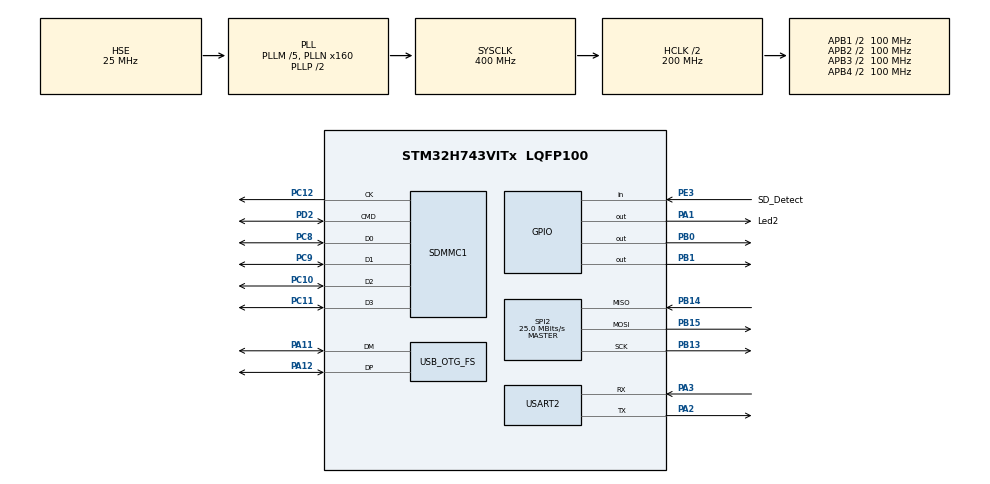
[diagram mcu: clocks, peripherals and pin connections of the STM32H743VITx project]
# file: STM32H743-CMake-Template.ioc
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CORTEX_M7.CPU_DCache=Enabled
CORTEX_M7.CPU_ICache=Enabled
CORTEX_M7.Enable-Cortex_Memory_Protection_Unit_Region0_Settings=MPU_REGION_ENABLE
CORTEX_M7.Enable-Cortex_Memory_Protection_Unit_Region1_Settings=MPU_REGION_ENABLE
CORTEX_M7.MPU_Control=__NULL
FATFS.BSP.number=1
FATFS._CODE_PAGE=936
FATFS._FS_EXFAT=1
FATFS._USE_LFN=3
FATFS0.BSP.STBoard=false
FATFS0.BSP.api=Unknown
FATFS0.BSP.instance=PE3
FATFS0.BSP.ip=GPIO
FATFS0.BSP.mode=Input
FATFS0.BSP.name=Detect_SDIO
FATFS0.BSP.solution=PE3
FREERTOS.Tasks01=defaultTask,24,128,StartDefaultTask,Default,NULL,Dynamic,NULL,NULL;lvglTimerTask,24,512,StartLvglTimerTask,Default,NULL,Dynamic,NULL,NULL;mainTask,24,512,StartMainTask,As external,NULL,Dynamic,NULL,NULL
FREERTOS.configENABLE_FPU=1
FREERTOS.configGENERATE_RUN_TIME_STATS=1
FREERTOS.configRECORD_STACK_HIGH_ADDRESS=1
FREERTOS.configTOTAL_HEAP_SIZE=280000
FREERTOS.configUSE_NEWLIB_REENTRANT=0
FREERTOS.configUSE_STATS_FORMATTING_FUNCTIONS=1
FREERTOS.copyHeapFile=1
Mcu.Family=STM32H7
Mcu.Name=STM32H743VITx
Mcu.Package=LQFP100
NVIC.OTG_FS_IRQn=true\:5\:0\:false\:false\:true\:true\:false\:true\:true
NVIC.PriorityGroup=NVIC_PRIORITYGROUP_4
NVIC.SDMMC1_IRQn=true\:5\:0\:false\:false\:true\:true\:true\:true\:true
NVIC.TIM1_UP_IRQn=true\:4\:0\:true\:false\:true\:false\:false\:true\:true
NVIC.TIM6_DAC_IRQn=true\:5\:0\:true\:false\:true\:true\:true\:true\:true
NVIC.TimeBase=TIM1_UP_IRQn
NVIC.TimeBaseIP=TIM1
NVIC.USART2_IRQn=true\:5\:0\:true\:false\:true\:true\:true\:true\:true
PA1.GPIO_Label=Led2
PA1.GPIO_PuPd=GPIO_PULLUP
PA1.GPIO_Speed=GPIO_SPEED_FREQ_VERY_HIGH
PA1.Signal=GPIO_Output
PA11.GPIO_PuPd=GPIO_NOPULL
PA11.Mode=Device_Only
PA11.Signal=USB_OTG_FS_DM
PA12.Mode=Device_Only
PA12.Signal=USB_OTG_FS_DP
PA13\ (JTMS/SWDIO).Mode=Serial_Wire
PA13\ (JTMS/SWDIO).Signal=DEBUG_JTMS-SWDIO
PA14\ (JTCK/SWCLK).Mode=Serial_Wire
PA14\ (JTCK/SWCLK).Signal=DEBUG_JTCK-SWCLK
PA2.GPIO_PuPd=GPIO_PULLUP
PA2.GPIO_Speed=GPIO_SPEED_FREQ_VERY_HIGH
PA2.Mode=Asynchronous
PA2.Signal=USART2_TX
PA3.GPIO_PuPd=GPIO_PULLUP
PA3.GPIO_Speed=GPIO_SPEED_FREQ_VERY_HIGH
PA3.Mode=Asynchronous
PA3.Signal=USART2_RX
PB0.GPIO_PuPd=GPIO_PULLUP
PB0.GPIO_Speed=GPIO_SPEED_FREQ_VERY_HIGH
PB0.Signal=GPIO_Output
PB1.GPIO_PuPd=GPIO_PULLUP
PB1.GPIO_Speed=GPIO_SPEED_FREQ_VERY_HIGH
PB1.Signal=GPIO_Output
PB12.GPIO_PuPd=GPIO_PULLUP
PB12.GPIO_Speed=GPIO_SPEED_FREQ_VERY_HIGH
PB12.Signal=SPI2_NSS
PB13.GPIO_PuPd=GPIO_PULLUP
PB13.GPIO_Speed=GPIO_SPEED_FREQ_VERY_HIGH
PB13.Mode=Full_Duplex_Master
PB13.Signal=SPI2_SCK
PB14.GPIO_PuPd=GPIO_PULLUP
PB14.GPIO_Speed=GPIO_SPEED_FREQ_VERY_HIGH
PB14.Mode=Full_Duplex_Master
PB14.Signal=SPI2_MISO
PB15.GPIO_PuPd=GPIO_PULLUP
PB15.GPIO_Speed=GPIO_SPEED_FREQ_VERY_HIGH
PB15.Mode=Full_Duplex_Master
PB15.Signal=SPI2_MOSI
PC10.Mode=SD_4_bits_Wide_bus
PC10.Signal=SDMMC1_D2
PC11.Mode=SD_4_bits_Wide_bus
PC11.Signal=SDMMC1_D3
PC12.Mode=SD_4_bits_Wide_bus
PC12.Signal=SDMMC1_CK
PC8.Mode=SD_4_bits_Wide_bus
PC8.Signal=SDMMC1_D0
PC9.Mode=SD_4_bits_Wide_bus
PC9.Signal=SDMMC1_D1
PD2.Mode=SD_4_bits_Wide_bus
PD2.Signal=SDMMC1_CMD
PE3.GPIO_Label=SD_Detect
PE3.GPIO_PuPd=GPIO_PULLDOWN
PE3.Signal=GPIO_Input
PH0-OSC_IN\ (PH0).Mode=HSE-External-Oscillator
PH0-OSC_IN\ (PH0).Signal=RCC_OSC_IN
PH1-OSC_OUT\ (PH1).Mode=HSE-External-Oscillator
PH1-OSC_OUT\ (PH1).Signal=RCC_OSC_OUT
ProjectManager.HeapSize=0x20000
ProjectManager.StackSize=0x10000
ProjectManager.TargetToolchain=STM32CubeIDE
RCC.ADCFreq_Value=50390625
RCC.APB1Freq_Value=100000000
RCC.APB2Freq_Value=100000000
RCC.APB3Freq_Value=100000000
RCC.APB4Freq_Value=100000000
RCC.CortexFreq_Value=400000000
RCC.D1PPRE=RCC_APB3_DIV2
RCC.D2PPRE1=RCC_APB1_DIV2
RCC.D2PPRE2=RCC_APB2_DIV2
RCC.D3PPRE=RCC_APB4_DIV2
RCC.DIVM1=5
RCC.DIVN1=160
RCC.DIVQ1=4
RCC.HCLKFreq_Value=200000000
RCC.HPRE=RCC_HCLK_DIV2
RCC.PLL2FRACN=0
RCC.PLL3FRACN=0
RCC.PLLFRACN=0
RCC.PLLSourceVirtual=RCC_PLLSOURCE_HSE
RCC.SYSCLKFreq_VALUE=400000000
RCC.SYSCLKSource=RCC_SYSCLKSOURCE_PLLCLK
RCC.USBCLockSelection=RCC_USBCLKSOURCE_HSI48
RCC.USBFreq_Value=48000000
SDMMC1.ClockDiv=2
SPI2.BaudRatePrescaler=SPI_BAUDRATEPRESCALER_8
SPI2.CLKPhase=SPI_PHASE_2EDGE
SPI2.CLKPolarity=SPI_POLARITY_HIGH
SPI2.CalculateBaudRate=25.0 MBits/s
SPI2.DataSize=SPI_DATASIZE_8BIT
SPI2.Direction=SPI_DIRECTION_2LINES
SPI2.FifoThreshold=SPI_FIFO_THRESHOLD_01DATA
SPI2.MasterKeepIOState=SPI_MASTER_KEEP_IO_STATE_ENABLE
SPI2.Mode=SPI_MODE_MASTER
SPI2.NSSPMode=SPI_NSS_PULSE_DISABLE
SPI2.VirtualType=VM_MASTER
TIM6.AutoReloadPreload=TIM_AUTORELOAD_PRELOAD_ENABLE
TIM6.Period=199
TIM6.Prescaler=99
USART2.OverrunDisableParam=ADVFEATURE_OVERRUN_DISABLE
USART2.VirtualMode-Asynchronous=VM_ASYNC
USB_DEVICE.CLASS_NAME_FS=CDC
USB_DEVICE.VirtualMode-CDC_FS=Cdc
USB_DEVICE.VirtualModeFS=Cdc_FS
USB_OTG_FS.VirtualMode=Device_Only
VP_FATFS_VS_SDIO.Mode=SDIO
VP_FREERTOS_VS_CMSIS_V2.Mode=CMSIS_V2
VP_SYS_VS_tim1.Mode=TIM1
VP_TIM6_VS_ClockSourceINT.Mode=Enable_Timer
VP_USB_DEVICE_VS_USB_DEVICE_CDC_FS.Mode=CDC_FS
board=custom

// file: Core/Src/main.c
/* USER CODE BEGIN Header */
/**
  ******************************************************************************
  * @file           : main.c
  * @brief          : Main program body
  ******************************************************************************
  * @attention
  *
  * Copyright (c) 2022 STMicroelectronics.
  * All rights reserved.
  *
  * This software is licensed under terms that can be found in the LICENSE file
  * in the root directory of this software component.
  * If no LICENSE file comes with this software, it is provided AS-IS.
  *
  ******************************************************************************
  */
/* USER CODE END Header */
#include "main.h"
#include "cmsis_os.h"
#include "fatfs.h"
#include "sdmmc.h"
#include "spi.h"
#include "tim.h"
#include "usart.h"
#include "usb_device.h"
#include "gpio.h"

void SystemClock_Config(void);
void MX_FREERTOS_Init(void);

int main(void)
{

  /* Enable I-Cache---------------------------------------------------------*/
  SCB_EnableICache();

  /* Enable D-Cache---------------------------------------------------------*/
  SCB_EnableDCache();

  /* MCU Configuration--------------------------------------------------------*/

  /* Reset of all peripherals, Initializes the Flash interface and the Systick. */
  HAL_Init();

  /* Configure the system clock */
  SystemClock_Config();

  /* USER CODE BEGIN SysInit */
  __HAL_RCC_D2SRAM1_CLK_ENABLE();
  __HAL_RCC_D2SRAM2_CLK_ENABLE();
  __HAL_RCC_D2SRAM3_CLK_ENABLE();
  /* USER CODE END SysInit */

  /* Initialize all configured peripherals */
  MX_GPIO_Init();
  MX_TIM6_Init();
  MX_USART2_UART_Init();
  MX_SPI2_Init();
  MX_SDMMC1_SD_Init();
  MX_FATFS_Init();
  /* USER CODE BEGIN 2 */
  LL_USART_EnableIT_RXNE(USART2);
  StartRunTimeStat();
  /* USER CODE END 2 */

  /* Init scheduler */
  osKernelInitialize();  /* Call init function for freertos objects (in freertos.c) */
  MX_FREERTOS_Init();

  /* Start scheduler */
  osKernelStart();

  /* We should never get here as control is now taken by the scheduler */
  /* Infinite loop */
  while (1)
  {

  }
}

void SystemClock_Config(void)
{
  RCC_OscInitTypeDef RCC_OscInitStruct = {0};
  RCC_ClkInitTypeDef RCC_ClkInitStruct = {0};

  /** Supply configuration update enable
  */
  HAL_PWREx_ConfigSupply(PWR_LDO_SUPPLY);

  /** Configure the main internal regulator output voltage
  */
  __HAL_PWR_VOLTAGESCALING_CONFIG(PWR_REGULATOR_VOLTAGE_SCALE1);

  while(!__HAL_PWR_GET_FLAG(PWR_FLAG_VOSRDY)) {}

  /** Initializes the RCC Oscillators according to the specified parameters
  * in the RCC_OscInitTypeDef structure.
  */
  RCC_OscInitStruct.OscillatorType = RCC_OSCILLATORTYPE_HSI48|RCC_OSCILLATORTYPE_HSE;
  RCC_OscInitStruct.HSEState = RCC_HSE_ON;
  RCC_OscInitStruct.HSI48State = RCC_HSI48_ON;
  RCC_OscInitStruct.PLL.PLLState = RCC_PLL_ON;
  RCC_OscInitStruct.PLL.PLLSource = RCC_PLLSOURCE_HSE;
  RCC_OscInitStruct.PLL.PLLM = 5;
  RCC_OscInitStruct.PLL.PLLN = 160;
  RCC_OscInitStruct.PLL.PLLP = 2;
  RCC_OscInitStruct.PLL.PLLQ = 4;
  RCC_OscInitStruct.PLL.PLLR = 2;
  RCC_OscInitStruct.PLL.PLLRGE = RCC_PLL1VCIRANGE_2;
  RCC_OscInitStruct.PLL.PLLVCOSEL = RCC_PLL1VCOWIDE;
  RCC_OscInitStruct.PLL.PLLFRACN = 0;
  if (HAL_RCC_OscConfig(&RCC_OscInitStruct) != HAL_OK)
  {
    Error_Handler();
  }

  /** Initializes the CPU, AHB and APB buses clocks
  */
  RCC_ClkInitStruct.ClockType = RCC_CLOCKTYPE_HCLK|RCC_CLOCKTYPE_SYSCLK
                              |RCC_CLOCKTYPE_PCLK1|RCC_CLOCKTYPE_PCLK2
                              |RCC_CLOCKTYPE_D3PCLK1|RCC_CLOCKTYPE_D1PCLK1;
  RCC_ClkInitStruct.SYSCLKSource = RCC_SYSCLKSOURCE_PLLCLK;
  RCC_ClkInitStruct.SYSCLKDivider = RCC_SYSCLK_DIV1;
  RCC_ClkInitStruct.AHBCLKDivider = RCC_HCLK_DIV2;
  RCC_ClkInitStruct.APB3CLKDivider = RCC_APB3_DIV2;
  RCC_ClkInitStruct.APB1CLKDivider = RCC_APB1_DIV2;
  RCC_ClkInitStruct.APB2CLKDivider = RCC_APB2_DIV2;
  RCC_ClkInitStruct.APB4CLKDivider = RCC_APB4_DIV2;

  if (HAL_RCC_ClockConfig(&RCC_ClkInitStruct, FLASH_LATENCY_2) != HAL_OK)
  {
    Error_Handler();
  }
}

void HAL_TIM_PeriodElapsedCallback(TIM_HandleTypeDef *htim)
{
  if (htim->Instance == TIM1) {
    HAL_IncTick();
  }
}

void Error_Handler(void)
{
  __disable_irq();
  while (1)
  {
  }
}

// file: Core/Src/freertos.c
/* USER CODE BEGIN Header */
/**
  ******************************************************************************
  * File Name          : freertos.c
  * Description        : Code for freertos applications
  ******************************************************************************
  * @attention
  *
  * Copyright (c) 2022 STMicroelectronics.
  * All rights reserved.
  *
  * This software is licensed under terms that can be found in the LICENSE file
  * in the root directory of this software component.
  * If no LICENSE file comes with this software, it is provided AS-IS.
  *
  ******************************************************************************
  */
/* USER CODE END Header */

#include "FreeRTOS.h"
#include "task.h"
#include "main.h"
#include "cmsis_os.h"

/* USER CODE BEGIN Variables */
uint8_t __attribute__(( section(".ram_d2_block"))) ucHeap[configTOTAL_HEAP_SIZE];
/* USER CODE END Variables */
/* Definitions for defaultTask */
osThreadId_t defaultTaskHandle;
const osThreadAttr_t defaultTask_attributes = {
  .name = "defaultTask",
  .stack_size = 128 * 4,
  .priority = (osPriority_t) osPriorityNormal,
};
/* Definitions for lvglTimerTask */
osThreadId_t lvglTimerTaskHandle;
const osThreadAttr_t lvglTimerTask_attributes = {
  .name = "lvglTimerTask",
  .stack_size = 512 * 4,
  .priority = (osPriority_t) osPriorityNormal,
};
/* Definitions for mainTask */
osThreadId_t mainTaskHandle;
const osThreadAttr_t mainTask_attributes = {
  .name = "mainTask",
  .stack_size = 512 * 4,
  .priority = (osPriority_t) osPriorityNormal,
};

/* USER CODE BEGIN FunctionPrototypes */
extern void vRegisterCLICommands(void);
extern void vUARTCommandConsoleStart(uint16_t usStackSize, UBaseType_t uxPriority);
/* USER CODE END FunctionPrototypes */

void StartDefaultTask(void *argument);
void StartLvglTimerTask(void *argument);
extern void StartMainTask(void *argument);

extern void MX_USB_DEVICE_Init(void);
void MX_FREERTOS_Init(void); /* (MISRA C 2004 rule 8.1) */

/* Hook prototypes */
void configureTimerForRunTimeStats(void);
unsigned long getRunTimeCounterValue(void);

/* USER CODE BEGIN 1 */
/* Functions needed when configGENERATE_RUN_TIME_STATS is on */
__weak void configureTimerForRunTimeStats(void)
{

}

__weak unsigned long getRunTimeCounterValue(void)
{
  return GetRuntimeCount();
}
/* USER CODE END 1 */

void MX_FREERTOS_Init(void) {

  /* Create the thread(s) */
  /* creation of defaultTask */
  defaultTaskHandle = osThreadNew(StartDefaultTask, NULL, &defaultTask_attributes);

  /* creation of lvglTimerTask */
  lvglTimerTaskHandle = osThreadNew(StartLvglTimerTask, NULL, &lvglTimerTask_attributes);

  /* creation of mainTask */
  mainTaskHandle = osThreadNew(StartMainTask, NULL, &mainTask_attributes);

  /* USER CODE BEGIN RTOS_THREADS */
  /* add threads, ... */
#if ENABLE_FREERTOS_CLI == 1
  vRegisterCLICommands();
  vUARTCommandConsoleStart(512, 24);
#endif
  /* USER CODE END RTOS_THREADS */

}

void StartDefaultTask(void *argument)
{
  /* init code for USB_DEVICE */
  MX_USB_DEVICE_Init();
  for(;;)
  {
    osDelay(1);
  }
}

void StartLvglTimerTask(void *argument)
{
  /* USER CODE BEGIN StartLvglTimerTask */
  /* Infinite loop */
  for(;;)
  {
    lv_timer_handler();
    osDelay(5);
  }
  /* USER CODE END StartLvglTimerTask */
}
